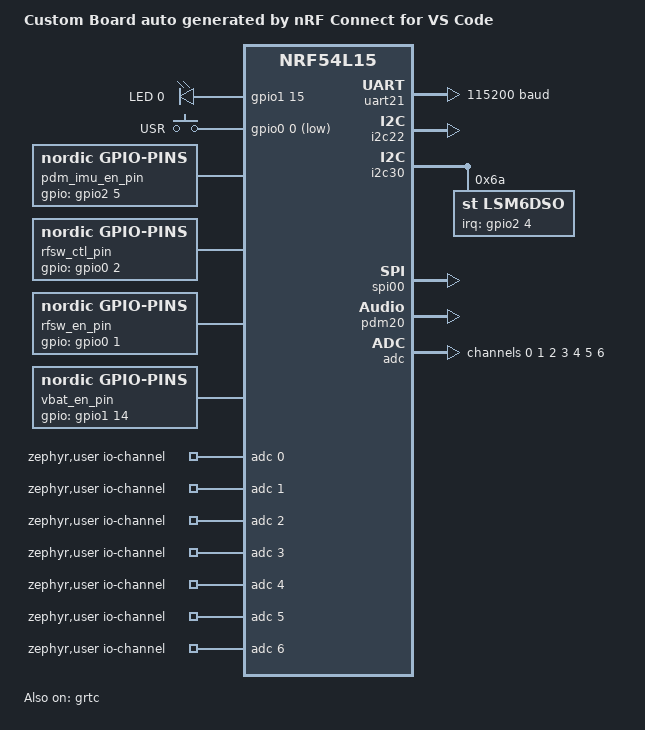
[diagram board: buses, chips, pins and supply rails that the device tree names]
/dts-v1/;
#include <nordic/nrf54l15_cpuapp.dtsi>
#include "xiao_nrf54l15-pinctrl.dtsi"
#include <zephyr/dt-bindings/sensor/lsm6dso.h>

/ {
	model = "Custom Board auto generated by nRF Connect for VS Code";
	compatible = "seeed,xiao-nrf54l15-cpuapp";

	leds {
		compatible = "gpio-leds";
		led0: led_0 {
			gpios = <&gpio1 15 GPIO_ACTIVE_HIGH>;
			label = "LED 0";
		};
	};

	buttons: buttons {
		compatible = "gpio-keys";
		usr_btn: usr-btn {
			gpios = <&gpio0 0 (GPIO_PULL_UP | GPIO_ACTIVE_LOW)>;
			label = "USR";
			zephyr,code = <INPUT_KEY_ENTER>;
		};
	};

	pdm_imu_en_pin: pdm_imu_en_pin {
		compatible = "nordic,gpio-pins";
		gpios = <&gpio2 5 GPIO_ACTIVE_HIGH>;
		status = "okay";
	};

	rfsw_ctl_pin: rfsw-ctl {
		compatible = "nordic,gpio-pins";
		gpios = <&gpio0 2 GPIO_ACTIVE_HIGH>;
		status = "okay";
	};

	rfsw_en_pin: rfsw-en {
		compatible = "nordic,gpio-pins";
		gpios = <&gpio0 1 GPIO_ACTIVE_HIGH>;
		status = "okay";
	};

	vbat_en_pin: vbat-en {
		compatible = "nordic,gpio-pins";
		gpios = <&gpio1 14 GPIO_ACTIVE_HIGH>;
		status = "okay";
	};

	chosen {
		zephyr,code-partition = &slot0_partition;
		zephyr,sram = &cpuapp_sram;
		zephyr,flash = &cpuapp_rram;
		zephyr,console = &uart21;
		zephyr,shell-uart = &uart21;
		nordic,rpc-uart = &uart21;
	};

	aliases {
		led0 = &led0;
		buttons = &buttons;
		imu0 = &lsm6dso;
		dmic20 = &pdm20;
	};

	zephyr,user {
		io-channels = <&adc 0>, <&adc 1>, <&adc 2>, <&adc 3>,
			<&adc 4>, <&adc 5>, <&adc 6>;
	};
};

&cpuapp_sram {
	status = "okay";
};

&grtc {
	owned-channels = <0 1 2 3 4 5 6 7 8 9 10 11>;
	/* Channels 7-11 reserved for Zero Latency IRQs, 3-4 for FLPR */
	child-owned-channels = <3 4 7 8 9 10 11>;
	status = "okay";
};

&clock {
	status = "okay";
};

// &uart00 {
// 	current-speed = <115200>;
// 	pinctrl-0 = <&uart00_default>;
// 	pinctrl-1 = <&uart00_sleep>;
// 	pinctrl-names = "default", "sleep";
// 	status = "okay";
// 	/delete-property/ hw-flow-control;
// };

&uart21 {
	current-speed = <115200>;
	pinctrl-0 = <&uart21_default>;
	pinctrl-1 = <&uart21_sleep>;
	pinctrl-names = "default", "sleep";
	status = "okay";
	/delete-property/ hw-flow-control;
};

&i2c22 {
	status = "okay";
	pinctrl-0 = <&i2c22_default>;
	pinctrl-1 = <&i2c22_sleep>;
	pinctrl-names = "default", "sleep";
};

&i2c30 {
	status = "okay";
	pinctrl-0 = <&i2c30_default>;
	pinctrl-1 = <&i2c30_sleep>;
	pinctrl-names = "default", "sleep";

	lsm6dso: lsm6dso@6a {
		compatible = "st,lsm6dso";
		reg = <0x6a>;
		irq-gpios = <&gpio2 4 GPIO_ACTIVE_HIGH>;
		accel-pm = <LSM6DSO_DT_XL_ULP_MODE>;
		gyro-pm = <LSM6DSO_DT_GY_NORMAL_MODE>;
		status = "okay";
	};
};
&spi00 {
	status = "okay";
	pinctrl-0 = <&spi00_default>;
	pinctrl-1 = <&spi00_sleep>;
	pinctrl-names = "default", "sleep";
	max-frequency = <32000000>;
};

// &spi22 {
// 	status = "okay";
// 	pinctrl-0 = <&spi22_default>;
// 	pinctrl-1 = <&spi22_sleep>;
// 	pinctrl-names = "default", "sleep";
//	max-frequency = <32000000>;
// };

&pdm20 {
	status = "okay";
	pinctrl-0 = <&pdm20_default>;
	pinctrl-names = "default";
	clock-source = "PCLK32M";
};

&adc {
	#address-cells = <1>;
	#size-cells = <0>;
	status = "okay";
	channel@0 {
		reg = <0>;
		zephyr,gain = "ADC_GAIN_1_4";
		zephyr,reference = "ADC_REF_INTERNAL";
		zephyr,acquisition-time = <ADC_ACQ_TIME_DEFAULT>;
		zephyr,input-positive = <NRF_SAADC_AIN0>;
		zephyr,resolution = <12>;
		zephyr,oversampling = <8>;
	};

	channel@1 {
		reg = <1>;
		zephyr,gain = "ADC_GAIN_1_4";
		zephyr,reference = "ADC_REF_INTERNAL";
		zephyr,acquisition-time = <ADC_ACQ_TIME_DEFAULT>;
		zephyr,input-positive = <NRF_SAADC_AIN1>;
		zephyr,resolution = <12>;
		zephyr,oversampling = <8>;
	};

	channel@2 {
		reg = <2>;
		zephyr,gain = "ADC_GAIN_1_4";
		zephyr,reference = "ADC_REF_INTERNAL";
		zephyr,acquisition-time = <ADC_ACQ_TIME_DEFAULT>;
		zephyr,input-positive = <NRF_SAADC_AIN2>;
		zephyr,resolution = <12>;
		zephyr,oversampling = <8>;
	};

	channel@3 {
		reg = <3>;
		zephyr,gain = "ADC_GAIN_1_4";
		zephyr,reference = "ADC_REF_INTERNAL";
		zephyr,acquisition-time = <ADC_ACQ_TIME_DEFAULT>;
		zephyr,input-positive = <NRF_SAADC_AIN3>;
		zephyr,resolution = <12>;
		zephyr,oversampling = <8>;
	};

	channel@4 {
		reg = <4>;
		zephyr,gain = "ADC_GAIN_1_4";
		zephyr,reference = "ADC_REF_INTERNAL";
		zephyr,acquisition-time = <ADC_ACQ_TIME_DEFAULT>;
		zephyr,input-positive = <NRF_SAADC_AIN4>;
		zephyr,resolution = <12>;
		zephyr,oversampling = <8>;
	};

	channel@5 {
		reg = <5>;
		zephyr,gain = "ADC_GAIN_1_4";
		zephyr,reference = "ADC_REF_INTERNAL";
		zephyr,acquisition-time = <ADC_ACQ_TIME_DEFAULT>;
		zephyr,input-positive = <NRF_SAADC_AIN5>;
		zephyr,resolution = <12>;
		zephyr,oversampling = <8>;
	};
	channel@6 {
		reg = <6>;
		zephyr,gain = "ADC_GAIN_1_2";
		zephyr,reference = "ADC_REF_INTERNAL";
		zephyr,acquisition-time = <ADC_ACQ_TIME_DEFAULT>;
		zephyr,input-positive = <NRF_SAADC_AIN6>;
		zephyr,resolution = <12>;
		zephyr,oversampling = <8>;
	};
};

&gpio0 {
	status = "okay";
};

&gpio1 {
	status = "okay";
};

&gpio2 {
	status = "okay";
};

&gpiote20 {
	status = "okay";
};

&gpiote30 {
	status = "okay";
};

&cpuapp_rram {
	partitions {
		compatible = "fixed-partitions";
		#address-cells = <1>;
		#size-cells = <1>;
		boot_partition: partition@0 {
			label = "mcuboot";
			reg = <0x0 DT_SIZE_K(64)>;
		};
		slot0_partition: partition@10000 {
			label = "image-0";
			reg = <0x10000 DT_SIZE_K(324)>;
		};
		slot0_ns_partition: partition@61000 {
			label = "image-0-nonsecure";
			reg = <0x61000 DT_SIZE_K(324)>;
		};
		slot1_partition: partition@b2000 {
			label = "image-1";
			reg = <0xb2000 DT_SIZE_K(324)>;
		};
		slot1_ns_partition: partition@103000 {
			label = "image-1-nonsecure";
			reg = <0x103000 DT_SIZE_K(324)>;
		};
		/* 32k from 0x154000 to 0x15bfff reserved for TF-M partitions */
		storage_partition: partition@15c000 {
			label = "storage";
			reg = <0x15c000 DT_SIZE_K(36)>;
		};
	};
};
